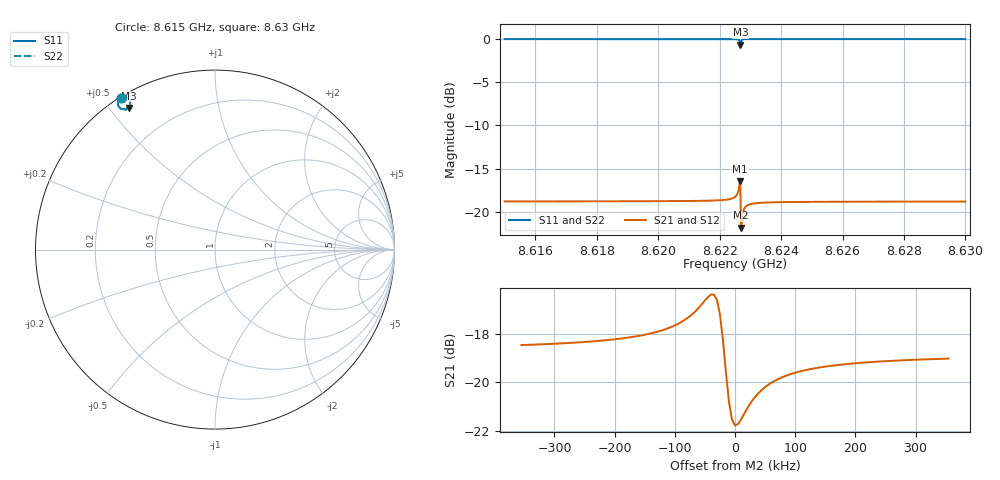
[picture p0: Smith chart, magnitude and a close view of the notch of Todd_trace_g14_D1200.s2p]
! Sonnet Data File
! From: emgraph Version : 16.52
! From Project: 171114transmon_trace_brg
! Data is De-embedded
! Data File Written: 11/14/2017 17:50:13
!< HDATE 11/14/2017 14:11:39
!< MDATE 11/14/2017 14:11:39
!< PARAMS
!< Lj = 15.24
!< Gap = 14.0
!< Width = 10.0
!< Airgap = 6.0
!< Pwidth = 2000.0
!< Dist = 1200.0
!< END PARAMS
# GHZ S MA R 34.87000
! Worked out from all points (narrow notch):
!   3597 points, 8.615 GHz to 8.63 GHz, reference 34.87 ohm
!   highest |S21| = -16.39 dB at 8.62267 GHz (marker M1); lowest = -21.8 dB at 8.6227 GHz (marker M2)
!   notch at M2: 3.0 dB deep, 59.3 kHz wide at half that depth
!   lowest |S11| = -0.7 dB at 8.62268 GHz (marker M3), VSWR 25.08, Z = 1.83 + j19.5 ohm
!   |S11| at or under -10 dB: nowhere
!   |S22| runs from -0.7 to -0.1 dB; largest |S21 - S12| = 8.5e-13
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8.615  0.9933 121.7  0.1155 31.7  0.1155 31.7  0.9933 121.7
!< P1 F=8.615 Eeff=(5.13377404 -5.6313e-5) Z0=(34.6595714 -9.1612e-5) R=0.0 C=0.0
!< P2 F=8.615 Eeff=(5.13377404 -5.6313e-5) Z0=(34.6595714 -9.1612e-5) R=0.0 C=0.0
8.6175  0.9933 121.6  0.1156 31.7  0.1156 31.7  0.9933 121.7
8.62  0.9933 121.6  0.1159 31.6  0.1159 31.6  0.9933 121.6
8.62197  0.9931 121.5  0.1173 31.5  0.1173 31.5  0.9931 121.6
8.62231  0.9927 121.4  0.119 31.4  0.119 31.4  0.9927 121.5
8.6225  0.9917 121.2  0.1226 30.9  0.1226 30.9  0.9917 121.2
8.622565  0.9902 121.0  0.1265 30.2  0.1265 30.2  0.9902 121.0
8.622595  0.9883 120.8  0.1301 29.4  0.1301 29.4  0.9883 120.8
8.62262  0.9845 120.5  0.1353 27.9  0.1353 27.9  0.9846 120.5
8.622665  0.9428 119.9  0.1515 12.2  0.1515 12.2  0.944 120.0
8.622675  0.9233 121.4  0.138 1.6  0.138 1.6  0.9251 121.4
8.6227  0.9678 123.9  0.08161 13.1  0.08161 13.1  0.9685 123.9
8.622745  0.9904 122.7  0.09666 29.9  0.09666 29.9  0.9905 122.7
8.62277  0.9922 122.4  0.1014 31.0  0.1014 31.0  0.9922 122.5
8.622825  0.9932 122.1  0.1065 31.6  0.1065 31.6  0.9933 122.2
8.622875  0.9935 122.0  0.1088 31.7  0.1088 31.7  0.9935 122.0
8.622965  0.9936 121.9  0.1108 31.8  0.1108 31.8  0.9936 121.9
8.6231  0.9935 121.8  0.1123 31.8  0.1123 31.8  0.9935 121.8
8.62366  0.9934 121.7  0.1141 31.7  0.1141 31.7  0.9934 121.7
8.625  0.9934 121.6  0.1149 31.7  0.1149 31.7  0.9934 121.7
8.6275  0.9933 121.6  0.1152 31.6  0.1152 31.6  0.9933 121.6
8.63  0.9933 121.6  0.1154 31.6  0.1154 31.6  0.9933 121.6
